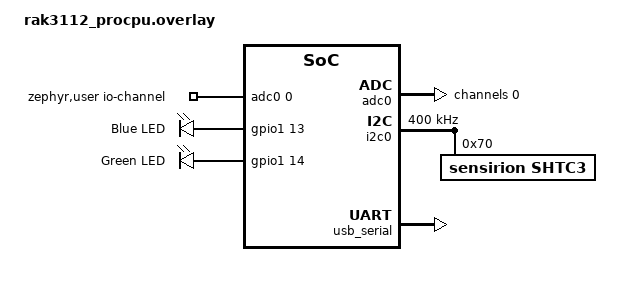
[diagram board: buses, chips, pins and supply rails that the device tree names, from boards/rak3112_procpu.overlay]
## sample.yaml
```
sample:
  name: LoRaWAN OTAA
tests:
  sample.lora.lorawan_otaa.rak3112:
    platform_allow:
      - rak3112/esp32s3/procpu
    extra_args: EXTRA_CONF_FILE=overlay_mcuboot.conf;overlay_ble.conf
    sysbuild: true
    tags: rak
    build_only: true
  sample.lora.lorawan_otaa.rak3172:
    platform_allow:
      - rak3172
      - rak11160
    extra_args: EXTRA_CONF_FILE=overlay_mcuboot.conf;overlay_sleep_rak3172.conf
    sysbuild: true
    tags: rak
    build_only: true
  sample.lora.lorawan_otaa.rak3362:
    platform_allow:
      - rak3362/nrf54l15/cpuapp
    extra_args: EXTRA_CONF_FILE=overlay_mcuboot.conf;overlay_ble.conf;overlay_sleep_rak3362.conf
    sysbuild: true
    tags: rak
    build_only: true
  sample.lora.lorawan_otaa.rak4631:
    platform_allow:
      - rak4631
    extra_args: EXTRA_CONF_FILE=overlay_mcuboot.conf;overlay_ble.conf;overlay_sleep_rak4631.conf
    sysbuild: true
    tags: rak
    build_only: true
  sample.lora.lorawan_otaa.rak11720:
    platform_allow:
      - rak11720
    extra_args: EXTRA_CONF_FILE=overlay_mcuboot.conf;overlay_ble.conf;overlay_sleep_rak11720.conf
    sysbuild: true
    tags: rak
    build_only: true
```

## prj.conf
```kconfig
CONFIG_GPIO=y
CONFIG_SPI=y
CONFIG_ADC=y
CONFIG_I2C=y
CONFIG_SENSOR=y
CONFIG_JSON_LIBRARY=y

CONFIG_MAIN_STACK_SIZE=2048
CONFIG_SYSTEM_WORKQUEUE_STACK_SIZE=2048
CONFIG_CBPRINTF_FP_SUPPORT=y
CONFIG_STDOUT_CONSOLE=y

# Lora
CONFIG_LORA=y
CONFIG_LORAWAN=y
# Select your region
# CONFIG_LORAWAN_REGION_AS923=y
# CONFIG_LORAWAN_REGION_AU915=y
# CONFIG_LORAWAN_REGION_CN470=y
# CONFIG_LORAWAN_REGION_CN779=y
# CONFIG_LORAWAN_REGION_EU433=y
# CONFIG_LORAWAN_REGION_KR920=y
# CONFIG_LORAWAN_REGION_IN865=y
# CONFIG_LORAWAN_REGION_RU864=y
# CONFIG_LORAWAN_REGION_US915=y
CONFIG_LORAWAN_REGION_EU868=y
CONFIG_LORAWAN_SERVICES=n
CONFIG_LORAWAN_NVM_SETTINGS=y

# NVS required to store LoRaWAN DevNonce
# as per LoRaWAN 1.0.4/1.1 Specifications.
CONFIG_FLASH=y
CONFIG_FLASH_MAP=y
CONFIG_NVS=y
CONFIG_SETTINGS=y

# Debug
CONFIG_DEBUG=y
CONFIG_DEBUG_THREAD_INFO=y
CONFIG_DEBUG_OPTIMIZATIONS=y
CONFIG_THREAD_MONITOR=y

# Logging
CONFIG_LOG=y
CONFIG_LOG_PRINTK=n
# Open following lines to
# use RTT logging for debug!!!
# CONFIG_USE_SEGGER_RTT=y
# CONFIG_LOG_BACKEND_RTT=y
# CONFIG_LOG_BACKEND_UART=n
```

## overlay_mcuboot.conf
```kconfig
CONFIG_MCUMGR=y
CONFIG_NET_BUF=y
CONFIG_ZCBOR=y
CONFIG_CRC=y

# Enable flash operations.
CONFIG_FLASH=y
CONFIG_FLASH_MAP=y
CONFIG_IMG_MANAGER=y
CONFIG_STREAM_FLASH=y

# Enable most core commands.
CONFIG_MCUMGR_GRP_IMG=y
CONFIG_MCUMGR_GRP_OS=y

# Enable the storage erase command.
CONFIG_MCUMGR_GRP_ZBASIC=y
CONFIG_MCUMGR_GRP_ZBASIC_STORAGE_ERASE=y

# Enable the Shell mcumgr transport.
CONFIG_BASE64=y
CONFIG_CRC=y

# Enable the serial MCUmgr transport.
CONFIG_UART_MCUMGR=y
CONFIG_MCUMGR_TRANSPORT_UART=y

# Close BLE related lines for RAK3172 board
# Enable the BT MCUmgr transport.
CONFIG_MCUMGR_TRANSPORT_BT_REASSEMBLY=y
# Enable the Bluetooth mcumgr transport (unauthenticated).
CONFIG_MCUMGR_TRANSPORT_BT=y
CONFIG_MCUMGR_TRANSPORT_BT_CONN_PARAM_CONTROL=y

# Enable the mcumgr Packet Reassembly feature over Bluetooth and its configuration dependencies.
# MCUmgr buffer size is optimized to fit one SMP packet divided into five Bluetooth Write Commands,
# transmitted with the maximum possible MTU value: 498 bytes.
CONFIG_MCUMGR_TRANSPORT_NETBUF_SIZE=2475
CONFIG_MCUMGR_GRP_OS_MCUMGR_PARAMS=y
CONFIG_MCUMGR_TRANSPORT_WORKQUEUE_STACK_SIZE=4608

CONFIG_BOOTLOADER_MCUBOOT=y
```

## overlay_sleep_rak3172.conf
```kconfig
# Necessary options for low power consumption
CONFIG_PINCTRL=y
CONFIG_PM=y
CONFIG_PM_DEVICE=y
CONFIG_PM_DEVICE_RUNTIME=y
CONFIG_PM_DEVICE_SYSTEM_MANAGED=y

# STM32 LPTIM tick source pulls in the reset controller
CONFIG_RESET=y

# With lpuart, it is possible to enabled it
# without increasing idle current.
# Please close logging at your production code!!!
CONFIG_LOG=n
CONFIG_LOG_PRINTK=n
CONFIG_LOG_BACKEND_RTT=n
CONFIG_BOOT_BANNER=n
CONFIG_DEBUG=n
CONFIG_DEBUG_THREAD_INFO=n
CONFIG_DEBUG_OPTIMIZATIONS=n
CONFIG_THREAD_MONITOR=n
CONFIG_RTT_CONSOLE=n
CONFIG_USB_DEVICE_STACK=n
CONFIG_STDOUT_CONSOLE=n
CONFIG_CBPRINTF_FP_SUPPORT=n
```

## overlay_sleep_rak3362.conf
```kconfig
# Necessary options for low power consumption
CONFIG_PM_DEVICE=y

# Please close logging at your production code!!!
CONFIG_LOG=n
CONFIG_LOG_PRINTK=n
CONFIG_LOG_BACKEND_RTT=n
CONFIG_BOOT_BANNER=n
CONFIG_DEBUG=n
CONFIG_DEBUG_THREAD_INFO=n
CONFIG_DEBUG_OPTIMIZATIONS=n
CONFIG_THREAD_MONITOR=n
CONFIG_RTT_CONSOLE=n
CONFIG_STDOUT_CONSOLE=n
CONFIG_CBPRINTF_FP_SUPPORT=n
# Open to disable the UART console for
# the lowest idle current!!!
# CONFIG_SERIAL=n
# CONFIG_UART_INTERRUPT_DRIVEN=n
# CONFIG_CONSOLE=n
# CONFIG_UART_CONSOLE=n
```

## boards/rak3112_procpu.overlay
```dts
/ {
	zephyr,user {
		io-channels = <&adc0 0>; // GP1
	};

	chosen {
		zephyr,console = &usb_serial;
		zephyr,shell-uart = &usb_serial;
		zephyr,uart-mcumgr = &usb_serial;
	};

	aliases {
		blue-led = &blue_led;
		green-led = &green_led;
		temp-sensor = &shtc3;
	};

	leds {
		compatible = "gpio-leds";
		blue_led: led_0 {
			gpios = <&gpio1 13 GPIO_ACTIVE_HIGH>; /* G45 */
			label = "Blue LED";
		};
		green_led: led_1 {
			gpios = <&gpio1 14 GPIO_ACTIVE_HIGH>; /* G46 */
			label = "Green LED";
		};
	};
};

&adc0 {
	status = "okay";
	#address-cells = <1>;
	#size-cells = <0>;
	channel@0 {
		/* https://docs.zephyrproject.org/latest/build/dts/api/bindings/adc/espressif%2Cesp32-adc.html */
		reg = <0>;
		zephyr,gain = "ADC_GAIN_1_4"; /* 11dB */
		zephyr,reference = "ADC_REF_INTERNAL";
		zephyr,acquisition-time = <ADC_ACQ_TIME_DEFAULT>;
		zephyr,resolution = <12>;
	};
};

&i2c0 {
	status = "okay";
	clock-frequency = <I2C_BITRATE_FAST>;
	shtc3: shtc3@70 {
		compatible = "sensirion,shtc3", "sensirion,shtcx";
		reg = <0x70>;
		measure-mode = "normal";
	};
};

&usb_serial {
	status = "okay";
};
```

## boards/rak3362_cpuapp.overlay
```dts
#include <zephyr/dt-bindings/gpio/wisblock-io-slot.h>
#include <zephyr/dt-bindings/adc/wisblock-adc.h>

/ {
	chosen {
		zephyr,console = &uart20;
		zephyr,uart-mcumgr = &uart20;
	};

	zephyr,user {
		io-channels = <&wisblock_adc WISBLOCK_ADC_AIN0>; // WisBlock AIN0
	};

	aliases {
		blue-led = &blue_led;
		green-led = &green_led;
		temp-sensor = &shtc3;
	};

	leds {
		compatible = "gpio-leds";
		blue_led: led_2 {
			gpios = <&wisblock_io WISBLOCK_IO_LED2 GPIO_ACTIVE_HIGH>;
			label = "Blue LED";
		};
		green_led: led_1 {
			gpios = <&wisblock_io WISBLOCK_IO_LED1 GPIO_ACTIVE_HIGH>;
			label = "Green LED";
		};
	};
};

&wisblock_i2c1 {
	status = "okay";
	shtc3: shtc3@70 {
		compatible = "sensirion,shtc3", "sensirion,shtcx";
		reg = <0x70>;
		measure-mode = "normal";
	};
};

&uart20 {
	status = "okay";
};
```

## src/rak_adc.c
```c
#include <inttypes.h>
#include <stddef.h>
#include <stdint.h>
#include <stdio.h>
#include <math.h>

#include <zephyr/kernel.h>
#include <zephyr/device.h>
#include <zephyr/devicetree.h>
#include <zephyr/drivers/adc.h>

#include <zephyr/logging/log.h>
LOG_MODULE_REGISTER(rak_adc, LOG_LEVEL_DBG);

#if defined(CONFIG_BOARD_RAK3112) || defined(CONFIG_BOARD_RAK11160)
double correction_ratio = 1.1;
#endif

#if defined(CONFIG_BOARD_RAK3172)
double correction_ratio = 1.1;
#endif

#if defined(CONFIG_BOARD_RAK4631) || defined(CONFIG_BOARD_RAK3362)
double correction_ratio = 1.1;
#endif

#if defined(CONFIG_BOARD_RAK11720)
double correction_ratio = (2.13) * (1.3);
#endif

#if !DT_NODE_EXISTS(DT_PATH(zephyr_user)) || !DT_NODE_HAS_PROP(DT_PATH(zephyr_user), io_channels)
#error "No suitable devicetree overlay specified"
#endif

#define DT_SPEC_AND_COMMA(node_id, prop, idx) ADC_DT_SPEC_GET_BY_IDX(node_id, idx),

/* Data of ADC io-channels specified in devicetree. */
static const struct adc_dt_spec adc_channel = ADC_DT_SPEC_GET(DT_PATH(zephyr_user));

static double vref = 0.0;
static uint8_t resolution = 0;
static uint16_t buf = 0;
static struct adc_sequence sequence = {
	.buffer = &buf,
	/* buffer size in bytes, not number of samples */
	.buffer_size = sizeof(buf),
#if defined(CONFIG_BOARD_RAK3172)
	.calibrate = true,
#endif
};

int rak_adc_init()
{
	int ret;

	/* Configure adc channel. */
	if (!adc_is_ready_dt(&adc_channel)) {
		LOG_ERR("ADC controller device %s not ready", adc_channel.dev->name);
		return -1;
	}

	ret = adc_channel_setup_dt(&adc_channel);
	if (ret < 0) {
		LOG_ERR("Failed to setup channel: %d", ret);
		return ret;
	}

	int32_t vref_mv = (int32_t)adc_ref_internal(adc_channel.dev);
	enum adc_gain gain = adc_channel.channel_cfg.gain;
	adc_gain_invert(gain, &vref_mv);
	vref = (double)(vref_mv / 1000.0);
	resolution = adc_channel.resolution;

	LOG_INF("ADC Vref: %d", vref_mv);
	LOG_INF("ADC Resolution: %d", resolution);

	(void)adc_sequence_init_dt(&adc_channel, &sequence);

	return ret;
}

int rak_adc_sample(double *value)
{
	int ret = -1;
	int32_t val;

	ret = adc_read_dt(&adc_channel, &sequence);
	if (ret < 0) {
		LOG_ERR("Failed to read: %d", ret);
		return ret;
	}

	val = (int32_t)buf;
	LOG_DBG("ADC: %" PRId32, val);

	/*
	If rak19007 board is used as a base board,
	- no battery, USB connected
		* meaningless value, you read the Vout of the TP4054 in none-charging mode
	- battery, USB connected
		* meaningless value, you read the charging voltage of the TP4054
	- battery, USB not connected
		* battery voltage reading

	Due to this, RTT logging is used, please do not connect your usb line
	to get correct ADC data!

	Please connect a lipo battery to your RAK19007 board!
	*/

	*value = correction_ratio *
		 ((vref * (((double)val) / ((double)pow(2, resolution))) * (5.0)) / (3.0));
	return ret;
}
```
